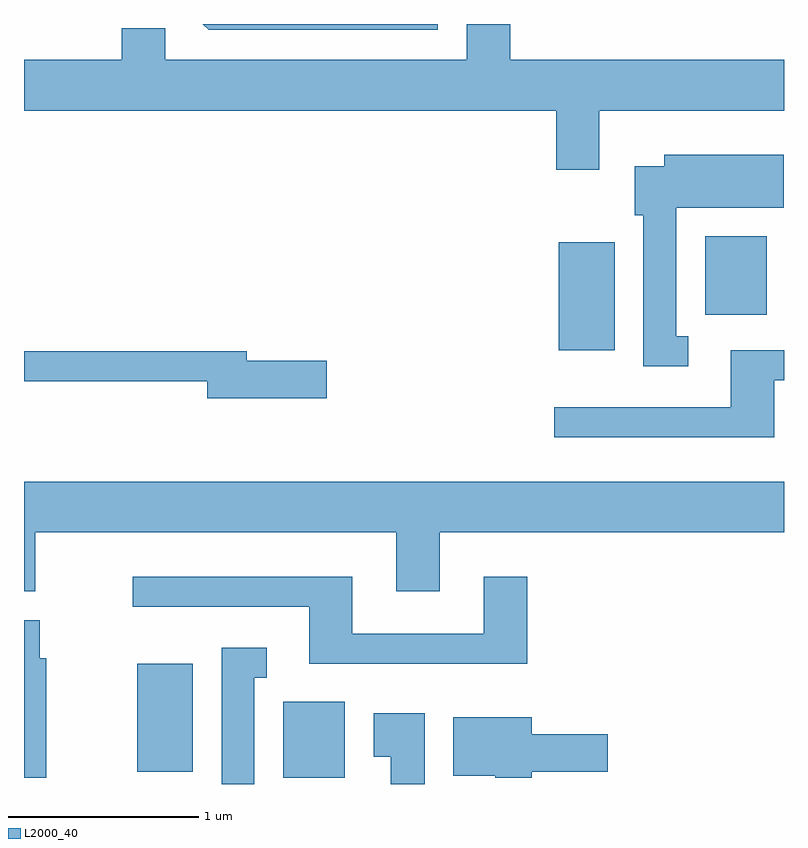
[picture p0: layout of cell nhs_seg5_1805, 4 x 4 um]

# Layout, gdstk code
import gdstk
lib = gdstk.Library(unit=1e-6, precision=1e-09)
def R(c, l, rs):  # rectangles x0, y0, x1, y1
    for r in rs: c.add(gdstk.rectangle(r[:2], r[2:], *l))
def P(c, l, *ps):  # polygons
    for p in ps: c.add(gdstk.Polygon(p, *l))
L2000_40 = (2000, 40)

nhs_seg5_1805 = lib.new_cell('nhs_seg5_1805')
R(nhs_seg5_1805, L2000_40, [(238.976,1522.106,239.299,1522.504), (238.206,1522.136,238.499,1522.704), (240.426,1524.356,240.719,1524.924), (241.196,1524.541,241.519,1524.954), (237.611,1526.071,237.873,1526.072)])
P(nhs_seg5_1805, L2000_40, [(239.789,1526.072),(238.553,1526.072),(238.584,1526.041),(239.789,1526.041)],
  [(240.169,1526.072),(239.941,1526.072),(239.941,1525.884),(238.354,1525.884),(238.354,1526.049),(238.126,1526.049),(238.126,1525.884),(237.611,1525.884),(237.611,1525.616),(240.411,1525.616),(240.411,1525.306),(240.639,1525.306),(240.639,1525.616),(241.611,1525.616),(241.611,1525.884),(240.169,1525.884)],
  [(241.108,1524.429),(241.044,1524.429),(241.044,1525.106),(241.609,1525.106),(241.609,1525.384),(240.981,1525.384),(240.981,1525.324),(240.826,1525.324),(240.826,1525.066),(240.871,1525.066),(240.871,1524.271),(241.108,1524.271)],
  [(241.559,1524.196),(241.611,1524.196),(241.611,1524.354),(241.331,1524.354),(241.331,1524.054),(240.403,1524.054),(240.403,1523.896),(241.559,1523.896)],
  [(239.204,1524.299),(238.784,1524.299),(238.784,1524.349),(237.611,1524.349),(237.611,1524.191),(238.576,1524.191),(238.576,1524.101),(239.204,1524.101)],
  [(237.669,1523.396),(239.571,1523.396),(239.571,1523.086),(239.799,1523.086),(239.799,1523.396),(241.611,1523.396),(241.611,1523.664),(237.611,1523.664),(237.611,1523.086),(237.669,1523.086)],
  [(240.259,1523.164),(240.031,1523.164),(240.031,1522.864),(239.339,1522.864),(239.339,1523.164),(238.183,1523.164),(238.183,1523.006),(239.111,1523.006),(239.111,1522.706),(240.259,1522.706)],
  [(237.729,1522.734),(237.694,1522.734),(237.694,1522.934),(237.611,1522.934),(237.611,1522.106),(237.729,1522.106)],
  [(238.824,1522.631),(238.888,1522.631),(238.888,1522.789),(238.651,1522.789),(238.651,1522.072),(238.824,1522.072)],
  [(239.719,1522.444),(239.451,1522.444),(239.451,1522.216),(239.541,1522.216),(239.541,1522.072),(239.719,1522.072)],
  [(240.284,1522.136),(240.684,1522.136),(240.684,1522.334),(240.284,1522.334),(240.284,1522.424),(239.871,1522.424),(239.871,1522.116),(240.09,1522.116),(240.09,1522.106),(240.284,1522.106)])

lib.write_gds('nhs_seg5_1805.gds')
